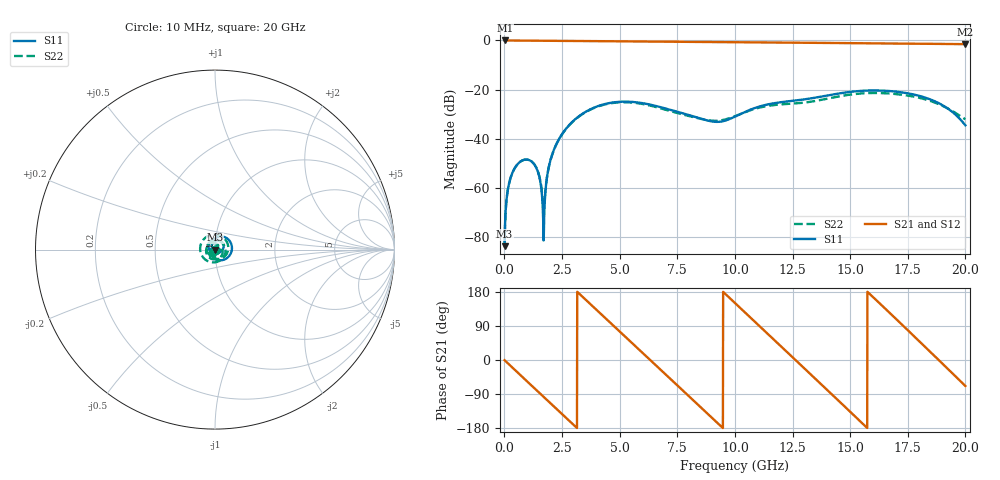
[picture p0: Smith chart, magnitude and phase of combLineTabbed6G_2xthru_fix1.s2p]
# GHz S RI R 50
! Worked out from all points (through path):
!   2000 points, 10 MHz to 20 GHz, reference 50 ohm
!   highest |S21| = 0.00 dB at 20 MHz (marker M1); lowest = -1.5 dB at 20 GHz (marker M2)
!   group delay of S21, straight-line fit = 159 ps
!   lowest |S11| = -83.8 dB at 10 MHz (marker M3), VSWR 1.00, Z = 50 + j0.00643 ohm
!   |S11| at or under -10 dB: start of sweep to end of sweep
!   |S22| runs from -83.8 to -21.4 dB; largest |S21 - S12| = 1.4e-15
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0.01  4.57e-06 6.43e-05  0.9992 -0.0107  0.9992 -0.0107  4.85e-06 6.43e-05
0.02  2.84e-06 0.000125  0.9996 -0.0208  0.9996 -0.0208  3.9e-06 0.000125
0.26  0.000329 0.0015  0.9633 -0.2584  0.9633 -0.2584  0.000491 0.00146
0.76  0.00203 0.00292  0.7195 -0.6848  0.7195 -0.6848  0.00283 0.00215
1.37  0.00233 0.00121  0.2003 -0.9682  0.2003 -0.9682  0.00264 -6.23e-05
1.64  0.000617 0.000113  -0.0633 -0.9846  -0.0633 -0.9846  0.00073 2.81e-05
2.23  -0.00722 0.000984  -0.5943 -0.7821  -0.5943 -0.7821  -0.00229 0.00684
3.35  -0.0175 0.0258  -0.9559 0.1831  -0.9559 0.1831  0.0261 0.0163
4.9  0.0257 0.0495  0.1463 0.9505  0.1463 0.9505  0.00903 -0.0537
6.68  0.0447 0.00458  0.8941 -0.3255  0.8941 -0.3255  -0.0305 0.0299
8.16  0.0231 -0.0172  -0.2328 -0.9083  -0.2328 -0.9083  0.0273 0.0047
9.14  -0.00214 -0.0219  -0.8746 -0.3152  -0.8746 -0.3152  0.0164 -0.0162
10.01  -0.0272 -0.00722  -0.7999 0.4597  -0.7999 0.4597  0.00563 -0.0283
11.4  -0.0305 0.039  0.3039 0.8592  0.3039 0.8592  -0.0453 -0.00866
12.41  -0.0109 0.0572  0.8816 0.1967  0.8816 0.1967  -0.0116 0.05
13.34  0.0065 0.0662  0.6765 -0.5869  0.6765 -0.5869  0.0558 0.0112
14.31  0.0328 0.0731  -0.1042 -0.8809  -0.1042 -0.8809  0.00944 -0.069
15.33  0.0716 0.0591  -0.8008 -0.3631  -0.8008 -0.3631  -0.0813 -0.0109
16.67  0.0935 -0.00306  -0.5225 0.6914  -0.5225 0.6914  0.0188 0.0811
17.56  0.0694 -0.0451  0.2195 0.8317  0.2195 0.8317  0.074 0.00855
18.54  0.0185 -0.0584  0.8136 0.261  0.8136 0.261  0.0243 -0.0519
20  -0.0177 -0.00586  0.3071 -0.7824  0.3071 -0.7824  -0.0182 -0.0169
